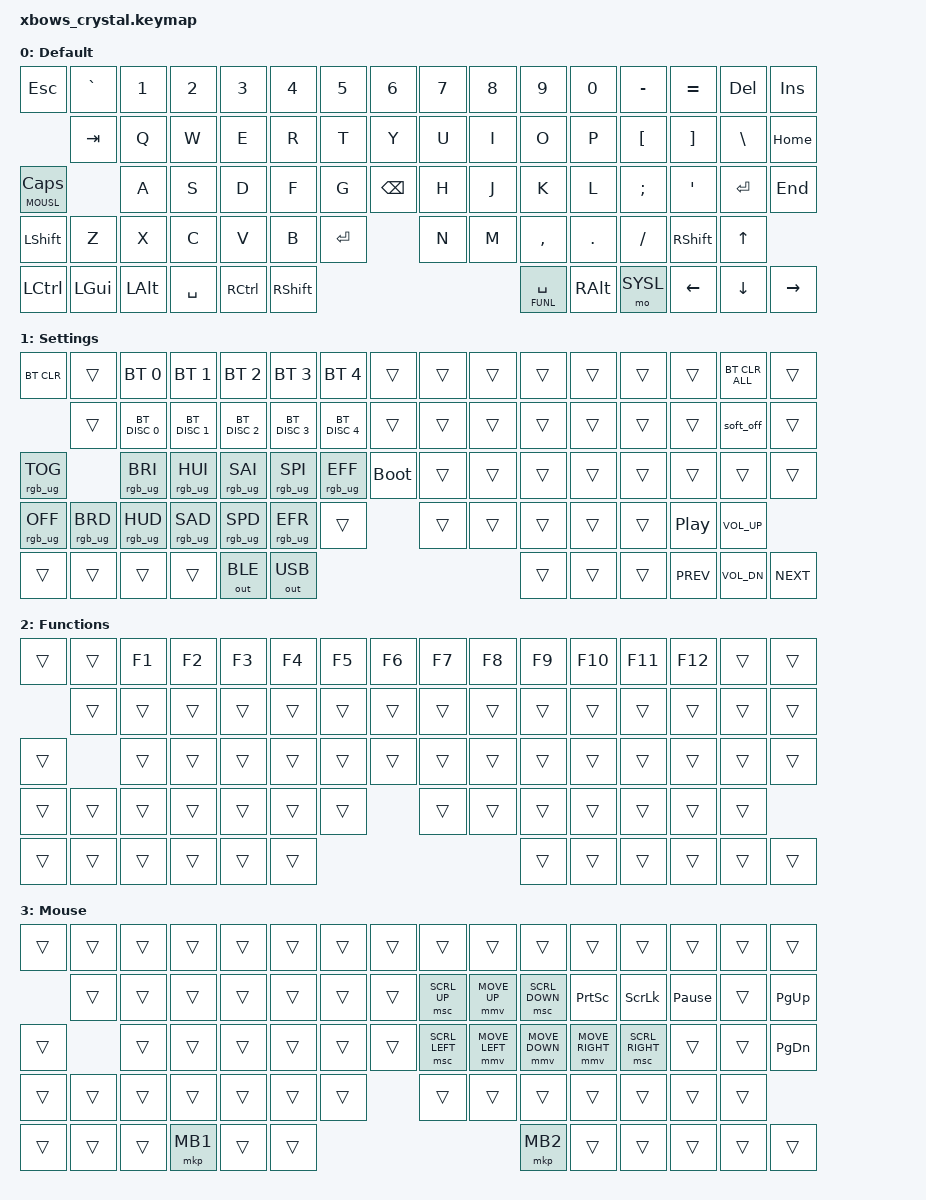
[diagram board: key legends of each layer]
/*
 * Copyright (c) 2023 The ZMK Contributors
 *
 * SPDX-License-Identifier: MIT
 */

#include <behaviors.dtsi>
#include <dt-bindings/zmk/bt.h>
#include <dt-bindings/zmk/keys.h>
#include <dt-bindings/zmk/outputs.h>
#include <dt-bindings/zmk/rgb.h>

#define DEFL        0 // Default
#define SYSL        1 // System/Settings
#define FUNL        2 // Functions
#define MOUSL       3 // Mouse

&lt {
    flavor = "balanced";
    tapping-term-ms = <200>;
    quick-tap-ms = <175>;                // repeat on tap-into-hold
    //require-prior-idle-ms = <150>;
};

//
// ENABLE_MOUSE_KEYS activates support for mouse keys if defined; otherwise
// mouse keys are deactivated (they're transformed into no-ops) by default.
// To use this feature, uncomment the following line (remove leading "//").
//
//#define ENABLE_MOUSE_KEYS

#define ZMK_MOUSE_DEFAULT_MOVE_VAL 2000
#define ZMK_MOUSE_DEFAULT_SCRL_VAL 10
#include <dt-bindings/zmk/mouse.h>
#ifdef ENABLE_MOUSE_KEYS
    // ==== MOUSE-KEY <section begins> ====
    &mmv {
      delay-ms = <0>;
      acceleration-exponent = <2>;
      time-to-max-speed-ms = <500>;
    };
    &msc {
      delay-ms = <0>;
      acceleration-exponent = <0>;
      time-to-max-speed-ms = <300>;
    };
    // ==== MOUSE-KEY <section ends> =====
#else
    //#define mkp none
    #define mmv none
    #define msc none
    #undef  MOVE_UP
    #define MOVE_UP
    #undef  MOVE_DOWN
    #define MOVE_DOWN
    #undef  MOVE_LEFT
    #define MOVE_LEFT
    #undef  MOVE_RIGHT
    #define MOVE_RIGHT
    #undef  SCRL_UP
    #define SCRL_UP
    #undef  SCRL_DOWN
    #define SCRL_DOWN
    #undef  SCRL_LEFT
    #define SCRL_LEFT
    #undef  SCRL_RIGHT
    #define SCRL_RIGHT
#endif

/ {

    keymap {
        compatible = "zmk,keymap";

        default_layer {
            display-name = "Default";
            bindings = <
//╭─────────┬─────────┬──────┬──────┬──────┬──────┬──────╮                   ╭──────┬──────┬─────────┬────────┬────────┬─────────┬─────────┬───────╮  ╭─────────╮
    &kp ESC  &kp GRAVE &kp N1 &kp N2 &kp N3 &kp N4 &kp N5                     &kp N6 &kp N7  &kp N8    &kp N9   &kp N0  &kp MINUS &kp EQUAL &kp DEL     &kp INS
//╰─────────┼─────────┼──────┼──────┼──────┼──────┼──────┤                   ├──────┼──────┼─────────┼────────┼────────┼─────────┼─────────┼───────┤  ├─────────┤
              &kp TAB  &kp Q  &kp W  &kp E  &kp R  &kp T                      &kp Y  &kp U   &kp I     &kp O    &kp P   &kp LBKT  &kp RBKT &kp BSLH     &kp HOME
//     ╭────┴─────────┼──────┼──────┼──────┼──────┼──────┤   ╭──────────╮    ├──────┼──────┼─────────┼────────┼────────┼─────────┼─────────┼───────╯  ├─────────┤
        &lt MOUSL CAPS &kp A  &kp S  &kp D  &kp F  &kp G       &kp BSPC       &kp H  &kp J   &kp K     &kp L   &kp SEMI &kp SQT   &kp RET               &kp END
//╭────┴──────────────┼──────┼──────┼──────┼──────┼──────┤   ├──────────┤    ├──────┼──────┼─────────┼────────┼────────┼─────────┼─────────╯╭────────╮╰─────────╯
    &kp LSHFT          &kp Z  &kp X  &kp C  &kp V  &kp B       &kp RET        &kp N  &kp M  &kp COMMA &kp DOT  &kp FSLH &kp RSHFT             &kp UP
//├─────────┬─────────┼──────┼──────┴──────┼──────┴──────┼───┴─────┬────┴────┼──────┴──────┴─────────┼────────┼────────┼─────────╯ ╭────────┼────────┼─────────╮
   &kp LCTRL  &kp LGUI         &kp LALT      &kp SPACE    &kp RCTRL &kp RSHFT  &lt FUNL SPACE         &kp RALT &mo SYSL             &kp LEFT &kp DOWN &kp RIGHT
//╰─────────┴─────────╯      ╰─────────────┴─────────────┴─────────┴─────────┴───────────────────────┴────────┴────────╯           ╰────────┴────────┴─────────╯
            >;
        };

#define BT_CL  &bt BT_CLR
#define BT_CLA &bt BT_CLR_ALL
#define BT_SL  &bt BT_SEL
#define BT_DC  &bt BT_DISC
#define RGB_TG &rgb_ug RGB_TOG
#define RGB_OF &rgb_ug RGB_OFF
#define RGB_BI &rgb_ug RGB_BRI
#define RGB_BD &rgb_ug RGB_BRD
#define RGB_HI &rgb_ug RGB_HUI
#define RGB_HD &rgb_ug RGB_HUD
#define RGB_SI &rgb_ug RGB_SAI
#define RGB_SD &rgb_ug RGB_SAD
#define RGB_PI &rgb_ug RGB_SPI
#define RGB_PD &rgb_ug RGB_SPD
#define RGB_EF &rgb_ug RGB_EFF
#define RGB_ER &rgb_ug RGB_EFR
#define C_VD C_VOL_DN
#define C_VU C_VOL_UP

        settings_layer {
            display-name = "Settings";
            bindings = <
//╭──────┬──────┬───────┬───────┬───────┬───────┬───────╮                         ╭──────┬──────┬──────┬──────┬──────┬──────┬──────┬─────────╮      ╭────────╮
   BT_CL  &trans BT_SL 0 BT_SL 1 BT_SL 2 BT_SL 3 BT_SL 4                           &trans &trans &trans &trans &trans &trans &trans  BT_CLA           &trans
//╰──────┼──────┼───────┼───────┼───────┼───────┼───────┤                         ├──────┼──────┼──────┼──────┼──────┼──────┼──────┼─────────┤      ├────────┤
          &trans BT_DC 0 BT_DC 1 BT_DC 2 BT_DC 3 BT_DC 4                           &trans &trans &trans &trans &trans &trans &trans &soft_off         &trans
//    ╭──┴──────┼───────┼───────┼───────┼───────┼───────┤      ╭───────────╮      ├──────┼──────┼──────┼──────┼──────┼──────┼──────┼─────────╯      ├────────┤
        RGB_TG   RGB_BI  RGB_HI  RGB_SI  RGB_PI  RGB_EF         &bootloader        &trans &trans &trans &trans &trans &trans &trans                   &trans
//╭───┴─────────┼───────┼───────┼───────┼───────┼───────┤      ├───────────┤      ├──────┼──────┼──────┼──────┼──────┼──────┴─┬────╯      ╭────────╮╰────────╯
    RGB_OF       RGB_BD  RGB_HD  RGB_SD  RGB_PD  RGB_ER          &trans            &trans &trans &trans &trans &trans &kp C_PP             &kp C_VU
//├──────┬──────┼───────┼───────┴───────┼───────┴───────┼──────┴─────┬─────┴──────┼──────┴──────┴──────┼──────┼──────┼────────╯╭──────────┼────────┼──────────╮
   &trans &trans          &trans          &trans         &out OUT_BLE &out OUT_USB  &trans              &trans &trans           &kp C_PREV &kp C_VD &kp C_NEXT
//╰──────┴──────╯       ╰───────────────┴───────────────┴────────────┴────────────┴────────────────────┴──────┴──────╯         ╰──────────┴────────┴──────────╯
            >;
        };

        function_layer {
            display-name = "Functions";
            bindings = <
//╭──────┬──────┬──────┬──────┬──────┬──────┬──────╮             ╭──────┬──────┬──────┬──────┬───────┬───────┬───────┬──────╮ ╭──────╮
   &trans &trans &kp F1 &kp F2 &kp F3 &kp F4 &kp F5               &kp F6 &kp F7 &kp F8 &kp F9 &kp F10 &kp F11 &kp F12 &trans   &trans
//╰──────┼──────┼──────┼──────┼──────┼──────┼──────┤             ├──────┼──────┼──────┼──────┼───────┼───────┼───────┼──────┤ ├──────┤
          &trans &trans &trans &trans &trans &trans               &trans &trans &trans &trans &trans  &trans  &trans  &trans   &trans
//     ╭─┴──────┼──────┼──────┼──────┼──────┼──────┤   ╭──────╮  ├──────┼──────┼──────┼──────┼───────┼───────┼───────┼──────╯ ├──────┤
         &trans  &trans &trans &trans &trans &trans     &trans    &trans &trans &trans &trans &trans  &trans  &trans           &trans
//╭────┴────────┼──────┼──────┼──────┼──────┼──────┤   ├──────┤  ├──────┼──────┼──────┼──────┼───────┼───────┼───────╯╭──────╮╰──────╯
    &trans       &trans &trans &trans &trans &trans     &trans    &trans &trans &trans &trans &trans  &trans           &trans
//├──────┬──────┼──────┼──────┴──────┼──────┴──────┼───┴──┬───┴──┼──────┴──────┴──────┼──────┼───────┼───────╯ ╭──────┼──────┼──────╮
   &trans &trans         &trans        &trans       &trans &trans  &trans              &trans &trans            &trans &trans &trans
//╰──────┴──────╯      ╰─────────────┴─────────────┴──────┴──────┴────────────────────┴──────┴───────╯         ╰──────┴──────┴──────╯
            >;
        };

#define MMV_LEFT  &mmv MOVE_LEFT
#define MMV_RIGHT &mmv MOVE_RIGHT
#define MMV_UP    &mmv MOVE_UP
#define MMV_DOWN  &mmv MOVE_DOWN
#define MSC_LEFT  &msc SCRL_LEFT
#define MSC_RIGHT &msc SCRL_RIGHT
#define MSC_UP    &msc SCRL_UP
#define MSC_DOWN  &msc SCRL_DOWN

        mouse_layer {
            display-name = "Mouse";
            bindings = <
//╭──────┬──────┬──────┬──────┬──────┬──────┬──────╮             ╭────────┬────────┬────────┬─────────┬─────────┬────────┬───────────────┬──────╮ ╭─────────╮
   &trans &trans &trans &trans &trans &trans &trans                &trans   &trans   &trans   &trans    &trans    &trans   &trans         &trans    &trans
//╰──────┼──────┼──────┼──────┼──────┼──────┼──────┤             ├────────┼────────┼────────┼─────────┼─────────┼────────┼───────────────┼──────┤ ├─────────┤
          &trans &trans &trans &trans &trans &trans                &trans   MSC_UP   MMV_UP  MSC_DOWN  &kp PSCRN &kp SLCK &kp PAUSE_BREAK &trans   &kp PG_UP
//   ╭───┴──────┼──────┼──────┼──────┼──────┼──────┤   ╭──────╮  ├────────┼────────┼────────┼─────────┼─────────┼────────┼───────────────┼──────╯ ├─────────┤
       &trans    &trans &trans &trans &trans &trans     &trans    MSC_LEFT MMV_LEFT MMV_DOWN MMV_RIGHT MSC_RIGHT  &trans   &trans                  &kp PG_DN
//╭──┴──────────┼──────┼──────┼──────┼──────┼──────┤   ├──────┤  ├────────┼────────┼────────┼─────────┼─────────┼────────┼───────────────╯╭──────╮╰─────────╯
    &trans       &trans &trans &trans &trans &trans     &trans     &trans   &trans   &trans   &trans    &trans    &trans                   &trans
//├──────┬──────┼──────┼──────┴──────┼──────┴──────┼───┴──┬───┴──┼────────┴────────┴────────┼─────────┼─────────┼────────╯         ╭──────┼──────┼──────╮
   &trans &trans         &trans        &mkp MB1     &trans &trans  &mkp MB2                   &trans    &trans                      &trans &trans &trans
//╰──────┴──────╯      ╰─────────────┴─────────────┴──────┴──────┴──────────────────────────┴─────────┴─────────╯                  ╰──────┴──────┴──────╯
            >;
        };

    };
};
